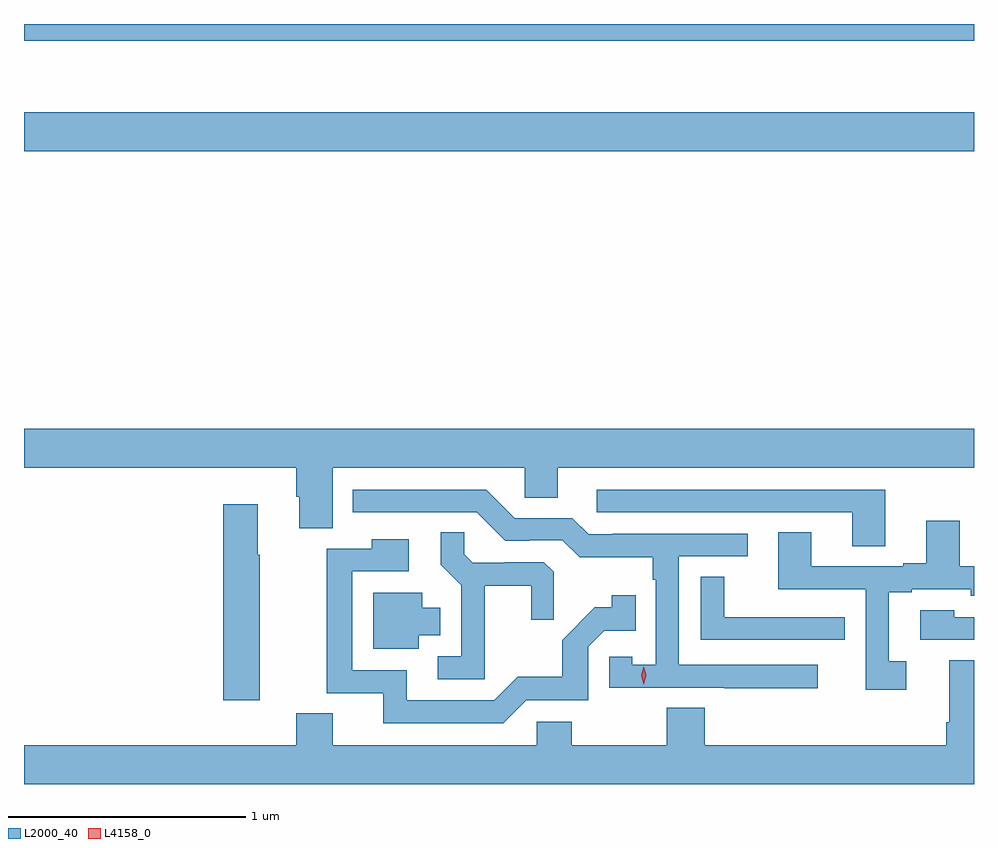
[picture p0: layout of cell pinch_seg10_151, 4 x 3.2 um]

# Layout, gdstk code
import gdstk
lib = gdstk.Library(unit=1e-6, precision=1e-09)
def R(c, l, rs):  # rectangles x0, y0, x1, y1
    for r in rs: c.add(gdstk.rectangle(r[:2], r[2:], *l))
def P(c, l, *ps):  # polygons
    for p in ps: c.add(gdstk.Polygon(p, *l))
L2000_40 = (2000, 40)
L4158_0 = (4158, 0)

pinch_seg10_151 = lib.new_cell('pinch_seg10_151')
R(pinch_seg10_151, L2000_40, [(757.03,1269.68,761.03,1269.844), (757.03,1270.146,761.03,1270.216)])
P(pinch_seg10_151, L2000_40, [(757.03,1268.348),(758.177,1268.348),(758.177,1268.226),(758.189,1268.226),(758.189,1268.092),(758.329,1268.092),(758.329,1268.348),(759.138,1268.348),(759.138,1268.221),(759.277,1268.221),(759.277,1268.348),(761.03,1268.348),(761.03,1268.512),(757.03,1268.512)],
  [(760.657,1268.256),(759.441,1268.256),(759.441,1268.16),(760.517,1268.16),(760.517,1268.017),(760.657,1268.017)],
  [(760.372,1267.518),(759.786,1267.518),(759.786,1267.974),(760.078,1267.974),(760.078,1268.07),(759.508,1268.07),(759.508,1268.067),(759.408,1268.067),(759.339,1268.136),(759.096,1268.136),(758.976,1268.256),(758.414,1268.256),(758.414,1268.16),(758.937,1268.16),(759.057,1268.04),(759.158,1268.04),(759.158,1268.043),(759.297,1268.043),(759.37,1267.97),(759.678,1267.97),(759.678,1267.877),(759.69,1267.877),(759.69,1267.519),(759.591,1267.519),(759.591,1267.551),(759.495,1267.551),(759.495,1267.422),(759.979,1267.422),(759.979,1267.42),(760.372,1267.42)],
  [(758.022,1267.981),(758.014,1267.981),(758.014,1268.194),(757.868,1268.194),(757.868,1267.368),(758.022,1267.368)],
  [(760.744,1267.533),(760.672,1267.533),(760.672,1267.824),(760.768,1267.824),(760.768,1267.836),(761.016,1267.836),(761.016,1267.809),(761.03,1267.809),(761.03,1267.932),(760.969,1267.932),(760.969,1268.125),(760.829,1268.125),(760.829,1267.945),(760.733,1267.945),(760.733,1267.932),(760.345,1267.932),(760.345,1268.075),(760.205,1268.075),(760.205,1267.836),(760.575,1267.836),(760.575,1267.413),(760.744,1267.413)],
  [(758.969,1267.85),(759.166,1267.85),(759.166,1267.707),(759.26,1267.707),(759.26,1267.909),(759.219,1267.95),(759.054,1267.95),(759.054,1267.947),(758.92,1267.947),(758.883,1267.984),(758.883,1268.075),(758.785,1268.075),(758.785,1267.939),(758.871,1267.853),(758.871,1267.554),(758.772,1267.554),(758.772,1267.458),(758.969,1267.458)],
  [(759.144,1267.368),(759.405,1267.368),(759.405,1267.593),(759.474,1267.662),(759.605,1267.662),(759.605,1267.81),(759.504,1267.81),(759.504,1267.76),(759.434,1267.76),(759.297,1267.622),(759.297,1267.467),(759.108,1267.467),(759.009,1267.368),(758.641,1267.368),(758.641,1267.494),(758.412,1267.494),(758.412,1267.911),(758.65,1267.911),(758.65,1268.047),(758.494,1268.047),(758.494,1268.007),(758.304,1268.007),(758.304,1267.398),(758.543,1267.398),(758.543,1267.272),(759.048,1267.272)],
  [(760.486,1267.718),(760.373,1267.718),(760.373,1267.719),(759.978,1267.719),(759.978,1267.889),(759.879,1267.889),(759.879,1267.623),(760.486,1267.623)],
  [(758.692,1267.643),(758.782,1267.643),(758.782,1267.759),(758.707,1267.759),(758.707,1267.822),(758.501,1267.822),(758.501,1267.586),(758.692,1267.586)],
  [(761.03,1267.719),(760.947,1267.719),(760.947,1267.747),(760.803,1267.747),(760.803,1267.623),(761.03,1267.623)],
  [(761.03,1267.537),(760.925,1267.537),(760.925,1267.276),(760.913,1267.276),(760.913,1267.18),(759.896,1267.18),(759.896,1267.337),(759.736,1267.337),(759.736,1267.18),(759.336,1267.18),(759.336,1267.278),(759.189,1267.278),(759.189,1267.18),(758.329,1267.18),(758.329,1267.313),(758.177,1267.313),(758.177,1267.18),(757.03,1267.18),(757.03,1267.016),(761.03,1267.016)])
P(pinch_seg10_151, L4158_0, [(759.639,1267.437),(759.639,1267.437),(759.629,1267.473),(759.639,1267.509),(759.639,1267.509),(759.639,1267.509),(759.649,1267.473),(759.639,1267.437)])

lib.write_gds('pinch_seg10_151.gds')
